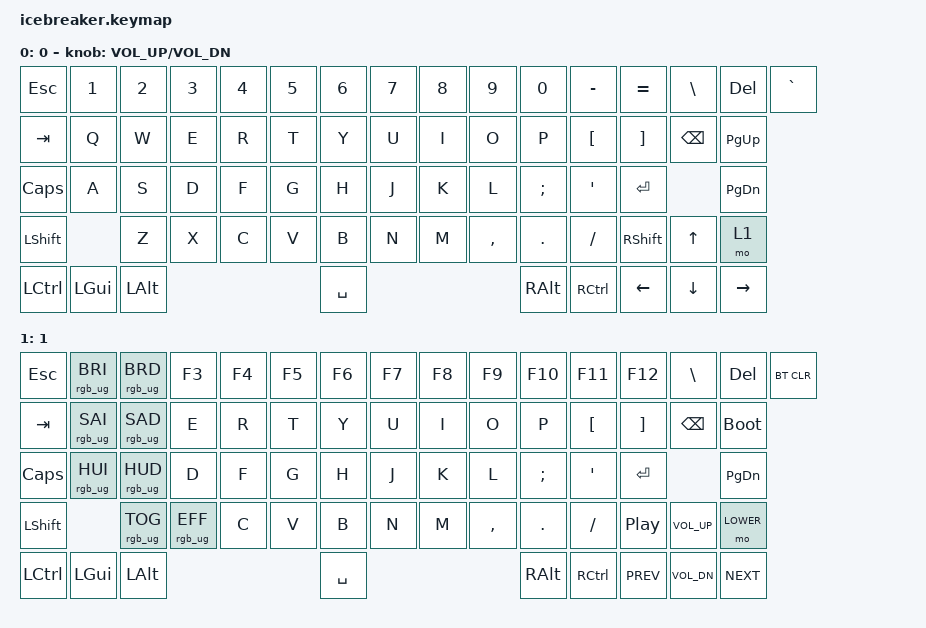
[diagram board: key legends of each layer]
/*
 * Copyright (c) 2020 The ZMK Contributors
 *
 * SPDX-License-Identifier: MIT
 */

#include <behaviors.dtsi>
#include <dt-bindings/zmk/keys.h>
#include <dt-bindings/zmk/bt.h>
#include <dt-bindings/zmk/outputs.h>
#include <dt-bindings/zmk/rgb.h>


#define DEFAULT 0
#define LOWER   1


&encoder {
    status = "okay";
};

/ {
    keymap {
        compatible = "zmk,keymap";

        0 {
            bindings = <
                &kp ESC   &kp N1     &kp N2    &kp N3   &kp N4   &kp N5  &kp N6    &kp N7   &kp N8    &kp N9    &kp N0   &kp MINUS  &kp EQUAL  &kp BSLH  &kp DEL    &kp GRAVE
                &kp TAB   &kp Q      &kp W     &kp E    &kp R    &kp T   &kp Y     &kp U    &kp I     &kp O     &kp P    &kp LBKT   &kp RBKT   &kp BSPC  &kp PG_UP
                &kp CAPS  &kp A      &kp S     &kp D    &kp F    &kp G   &kp H     &kp J    &kp K     &kp L     &kp SEMI &kp SQT    &kp ENTER            &kp PG_DN  
                &kp LSHFT            &kp Z     &kp X    &kp C    &kp V   &kp B     &kp N    &kp M     &kp COMMA &kp DOT  &kp SLASH  &kp RSHFT  &kp UP    &mo 1     
                &kp LCTL  &kp LGUI   &kp LALT                            &kp SPACE                              &kp RALT &kp RCTRL  &kp LEFT   &kp DOWN  &kp RIGHT   
            >;
            sensor-bindings = <&inc_dec_kp C_VOL_UP C_VOL_DN>;
        };

        1 {
            bindings = <
                &kp ESC    &rgb_ug RGB_BRI  &rgb_ug RGB_BRD  &kp F3           &kp F4   &kp F5 &kp F6     &kp F7   &kp F8    &kp F9    &kp F10    &kp F11    &kp F12    &kp BSLH     &kp DEL  &bt BT_CLR 
                &kp TAB    &rgb_ug RGB_SAI  &rgb_ug RGB_SAD  &kp E            &kp R    &kp T  &kp Y      &kp U    &kp I     &kp O     &kp P      &kp LBKT   &kp RBKT   &kp BSPC              &bootloader   
                &kp CAPS   &rgb_ug RGB_HUI  &rgb_ug RGB_HUD  &kp D            &kp F    &kp G  &kp H      &kp J    &kp K     &kp L     &kp SEMI   &kp SQT    &kp ENTER                        &kp PG_DN  
                &kp LSHFT                   &rgb_ug RGB_TOG  &rgb_ug RGB_EFF  &kp C    &kp V  &kp B      &kp N    &kp M     &kp COMMA &kp DOT    &kp SLASH  &kp C_PP   &kp C_VOL_UP          &mo LOWER       
                &kp LCTL   &kp LGUI         &kp LALT                                          &kp SPACE                               &kp RALT   &kp RCTRL  &kp C_PREV &kp C_VOL_DN          &kp C_NEXT  
            >;
        };
    };
};

